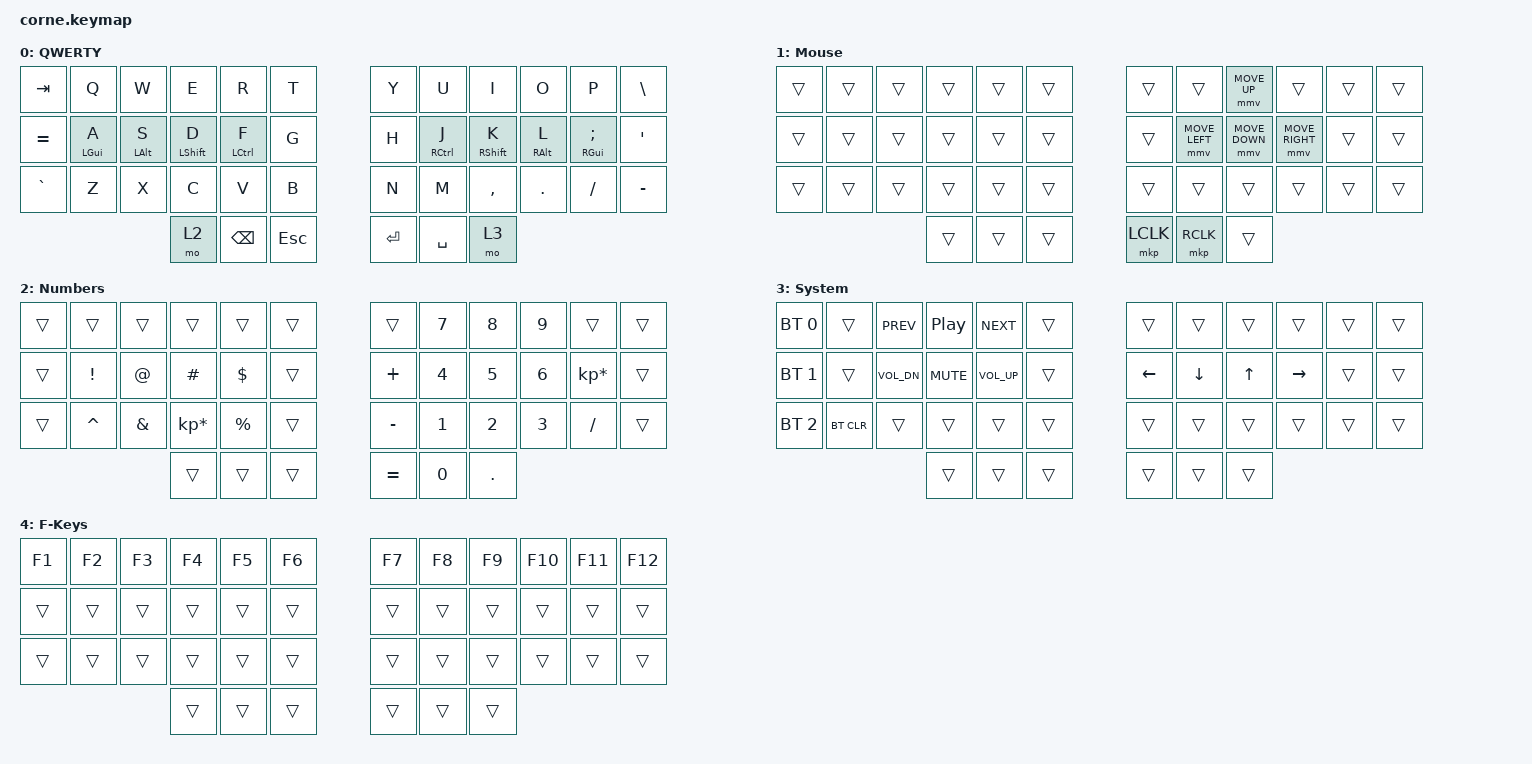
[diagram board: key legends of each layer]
/*
 * Copyright (c) 2020 The ZMK Contributors
 *
 * SPDX-License-Identifier: MIT
 */

#include <behaviors.dtsi>
#include <dt-bindings/zmk/keys.h>
#include <dt-bindings/zmk/bt.h>
#include <dt-bindings/zmk/mouse.h>

/ {
    macros {
        macro_declare_assign: macro_declare_assign {
            compatible = "zmk,behavior-macro";
            #binding-cells = <0>;
            bindings = <&kp COLON &kp EQUAL>;
        };
    };

    behaviors {
        hm: homerow_mods {
            compatible = "zmk,behavior-hold-tap";
            label = "HOMEROW_MODS";
            #binding-cells = <2>;
            tapping-term-ms = <280>;
            quick-tap-ms = <175>;
            require-prior-idle-ms = <125>;
            flavor = "tap-preferred";
            bindings = <&kp>, <&kp>;
        };
        
        // Special behavior for SHIFT - more responsive
        hms: homerow_mods_shift {
            compatible = "zmk,behavior-hold-tap";
            label = "HOMEROW_MODS_SHIFT";
            #binding-cells = <2>;
            tapping-term-ms = <200>;    // Shorter for shift
            quick-tap-ms = <175>;
            require-prior-idle-ms = <80>;  // Much shorter for shift
            flavor = "tap-preferred";
            bindings = <&kp>, <&kp>;
        };
    };

    combos {
        compatible = "zmk,combos";
        
        combo_lbkt {
            timeout-ms = <50>;
            key-positions = <14 15>;
            bindings = <&kp LBKT>;
        };
        
        combo_rbkt {
            timeout-ms = <50>;
            key-positions = <20 21>;
            bindings = <&kp RBKT>;
        };
        
        combo_lpar {
            timeout-ms = <50>;
            key-positions = <15 16>;
            bindings = <&kp LPAR>;
        };
        
        combo_rpar {
            timeout-ms = <50>;
            key-positions = <19 20>;
            bindings = <&kp RPAR>;
        };
        
        combo_lbrc {
            timeout-ms = <50>;
            key-positions = <16 17>;
            bindings = <&kp LBRC>;
        };
        
        combo_rbrc {
            timeout-ms = <50>;
            key-positions = <18 19>;
            bindings = <&kp RBRC>;
        };
        
        combo_capsword {
            timeout-ms = <50>;
            key-positions = <15 20>;
            bindings = <&caps_word>;
        };

        mouse_layer {
            timeout-ms = <50>;
            key-positions = <37 38>;
            bindings = <&mo 1>;
        };

        fkey_toggle {
            timeout-ms = <50>;
            key-positions = <36 41>;
            bindings = <&tog 4>;
        };
    };

    keymap {
        compatible = "zmk,keymap";

        default_layer {
            display-name = "QWERTY";
            bindings = <
   &kp TAB      &kp Q         &kp W         &kp E             &kp R         &kp T         &kp Y         &kp U         &kp I             &kp O               &kp P           &kp BSLH
   &kp EQUAL    &hm LGUI A    &hm LALT S    &hms LSHIFT D     &hm LCTRL F   &kp G         &kp H         &hm RCTRL J   &hms RSHIFT K     &hm RALT L          &hm RGUI SEMI   &kp SQT
   &kp GRAVE    &kp Z         &kp X         &kp C             &kp V         &kp B         &kp N         &kp M         &kp COMMA         &kp DOT             &kp FSLH        &kp MINUS
                                            &mo 2             &kp BSPC      &kp ESC       &kp RET       &kp SPACE     &mo 3
            >;
        };

        mouse_layer {
            display-name = "Mouse";
            bindings = <
   &trans       &trans        &trans        &trans            &trans        &trans        &trans        &trans          &mmv MOVE_UP      &trans            &trans          &trans
   &trans       &trans        &trans        &trans            &trans        &trans        &trans        &mmv MOVE_LEFT  &mmv MOVE_DOWN    &mmv MOVE_RIGHT   &trans          &trans
   &trans       &trans        &trans        &trans            &trans        &trans        &trans        &trans          &trans            &trans            &trans          &trans
                                            &trans            &trans        &trans        &mkp LCLK     &mkp RCLK       &trans
            >;
        };

        lower_layer {
            display-name = "Numbers";
            bindings = <
   &trans       &trans        &trans        &trans            &trans        &trans        &trans        &kp N7        &kp N8            &kp N9              &trans          &trans
   &trans       &kp EXCL      &kp AT        &kp HASH          &kp DLLR      &trans        &kp PLUS      &kp N4        &kp N5            &kp N6              &kp KP_MULTIPLY &trans
   &trans       &kp CARET     &kp AMPS      &kp KP_MULTIPLY   &kp PRCNT     &trans        &kp MINUS     &kp N1        &kp N2            &kp N3              &kp FSLH        &trans
                                            &trans            &trans        &trans        &kp EQUAL     &kp N0        &kp DOT
            >;
        };

        raise_layer {
            display-name = "System";
            bindings = <
   &bt BT_SEL 0 &trans        &kp C_PREV    &kp C_PLAY_PAUSE  &kp C_NEXT    &trans        &trans        &trans        &trans            &trans              &trans          &trans
   &bt BT_SEL 1 &trans        &kp C_VOL_DN  &kp C_MUTE        &kp C_VOL_UP  &trans        &kp LEFT      &kp DOWN      &kp UP            &kp RIGHT           &trans          &trans
   &bt BT_SEL 2 &bt BT_CLR    &trans        &trans            &trans        &trans        &trans        &trans        &trans            &trans              &trans          &trans
                                            &trans            &trans        &trans        &trans        &trans        &trans
            >;
        };

        fkey_layer {
            display-name = "F-Keys";
            bindings = <
   &kp F1       &kp F2        &kp F3        &kp F4            &kp F5        &kp F6        &kp F7        &kp F8        &kp F9            &kp F10             &kp F11         &kp F12
   &trans       &trans        &trans        &trans            &trans        &trans        &trans        &trans        &trans            &trans              &trans          &trans
   &trans       &trans        &trans        &trans            &trans        &trans        &trans        &trans        &trans            &trans              &trans          &trans
                                            &trans            &trans        &trans        &trans        &trans        &trans
            >;
        };
    };
};
